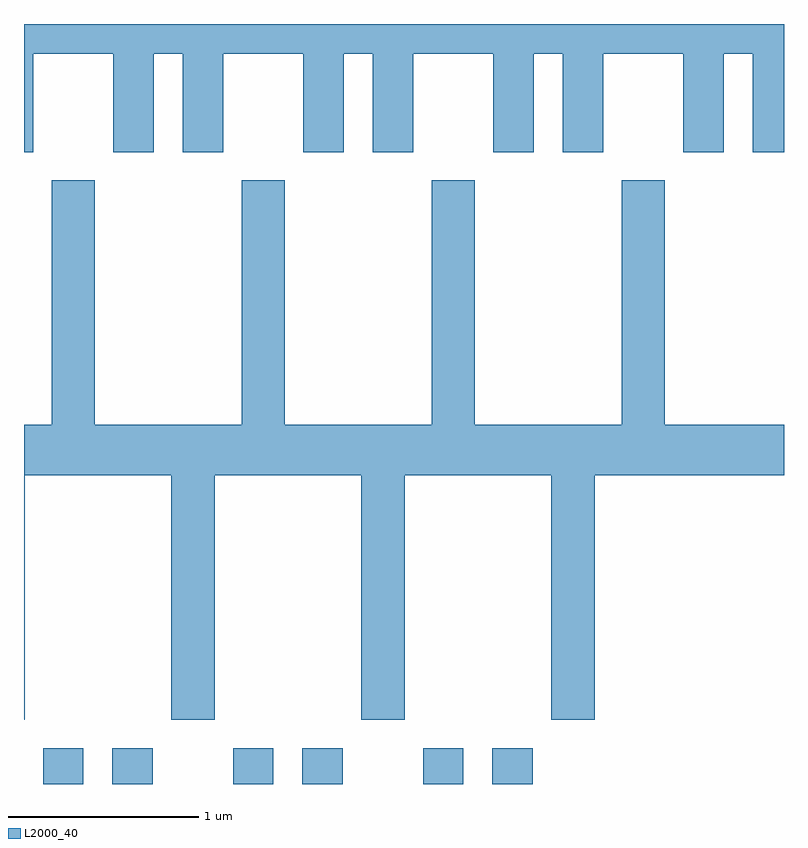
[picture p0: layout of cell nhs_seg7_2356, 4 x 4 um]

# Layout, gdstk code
import gdstk
lib = gdstk.Library(unit=1e-6, precision=1e-09)
def R(c, l, rs):  # rectangles x0, y0, x1, y1
    for r in rs: c.add(gdstk.rectangle(r[:2], r[2:], *l))
def P(c, l, *ps):  # polygons
    for p in ps: c.add(gdstk.Polygon(p, *l))
L2000_40 = (2000, 40)

nhs_seg7_2356 = lib.new_cell('nhs_seg7_2356')
R(nhs_seg7_2356, L2000_40, [(257.711,1708.252,257.924,1708.439), (258.076,1708.252,258.289,1708.439), (258.711,1708.252,258.924,1708.439), (259.076,1708.252,259.289,1708.439), (259.711,1708.252,259.924,1708.439), (260.076,1708.252,260.289,1708.439)])
P(nhs_seg7_2356, L2000_40, [(257.659,1712.096),(258.081,1712.096),(258.081,1711.576),(258.294,1711.576),(258.294,1712.096),(258.446,1712.096),(258.446,1711.576),(258.659,1711.576),(258.659,1712.096),(259.081,1712.096),(259.081,1711.576),(259.294,1711.576),(259.294,1712.096),(259.446,1712.096),(259.446,1711.576),(259.659,1711.576),(259.659,1712.096),(260.081,1712.096),(260.081,1711.576),(260.294,1711.576),(260.294,1712.096),(260.446,1712.096),(260.446,1711.576),(260.659,1711.576),(260.659,1712.096),(261.081,1712.096),(261.081,1711.576),(261.294,1711.576),(261.294,1712.096),(261.446,1712.096),(261.446,1711.576),(261.611,1711.576),(261.611,1712.252),(257.611,1712.252),(257.611,1711.576),(257.659,1711.576)],
  [(257.614,1709.876),(258.386,1709.876),(258.386,1708.591),(258.614,1708.591),(258.614,1709.876),(259.386,1709.876),(259.386,1708.591),(259.614,1708.591),(259.614,1709.876),(260.386,1709.876),(260.386,1708.591),(260.614,1708.591),(260.614,1709.876),(261.611,1709.876),(261.611,1710.144),(260.984,1710.144),(260.984,1711.429),(260.756,1711.429),(260.756,1710.144),(259.984,1710.144),(259.984,1711.429),(259.756,1711.429),(259.756,1710.144),(258.984,1710.144),(258.984,1711.429),(258.756,1711.429),(258.756,1710.144),(257.984,1710.144),(257.984,1711.429),(257.756,1711.429),(257.756,1710.144),(257.611,1710.144),(257.611,1708.591),(257.614,1708.591)])

lib.write_gds('nhs_seg7_2356.gds')
